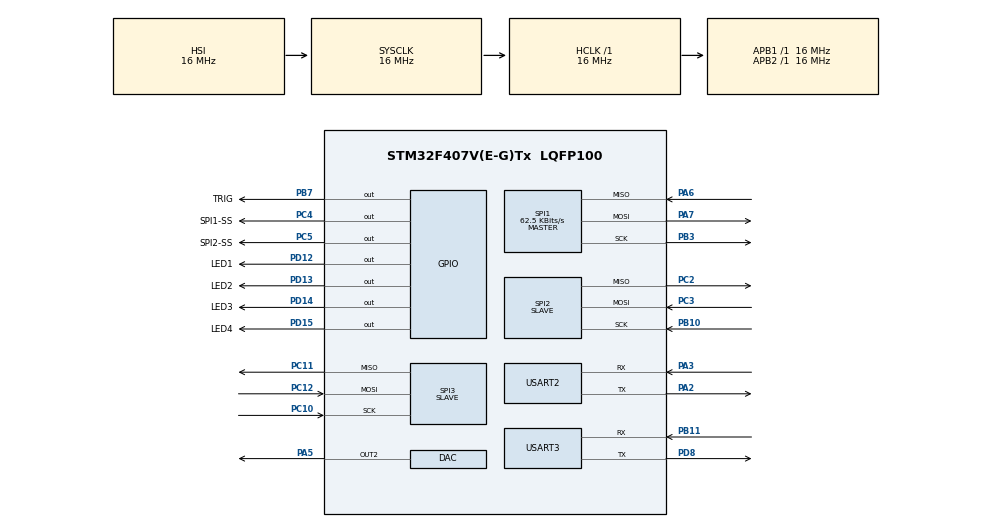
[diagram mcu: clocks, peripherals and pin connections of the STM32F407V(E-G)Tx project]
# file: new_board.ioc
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DAC.DAC_Trigger2=DAC_TRIGGER_T2_TRGO
Dma.DAC2.0.Direction=DMA_MEMORY_TO_PERIPH
Dma.DAC2.0.FIFOMode=DMA_FIFOMODE_DISABLE
Dma.DAC2.0.Instance=DMA1_Stream6
Dma.DAC2.0.MemDataAlignment=DMA_MDATAALIGN_WORD
Dma.DAC2.0.MemInc=DMA_MINC_ENABLE
Dma.DAC2.0.Mode=DMA_CIRCULAR
Dma.DAC2.0.PeriphDataAlignment=DMA_PDATAALIGN_WORD
Dma.DAC2.0.PeriphInc=DMA_PINC_DISABLE
Dma.DAC2.0.Priority=DMA_PRIORITY_LOW
Dma.Request0=DAC2
FREERTOS.Tasks01=defaultTask,0,128,StartDefaultTask,Default,NULL,Dynamic,NULL,NULL;myTask02,-3,128,StartTask02,Default,NULL,Dynamic,NULL,NULL;myTask03,-3,128,StartTask03,Default,NULL,Dynamic,NULL,NULL
Mcu.Family=STM32F4
Mcu.Name=STM32F407V(E-G)Tx
Mcu.Package=LQFP100
NVIC.DMA1_Stream6_IRQn=true\:5\:0\:false\:false\:true\:true\:false
NVIC.PriorityGroup=NVIC_PRIORITYGROUP_4
NVIC.TIM1_UP_TIM10_IRQn=true\:0\:0\:false\:false\:true\:false\:false
NVIC.TIM2_IRQn=true\:5\:0\:false\:false\:true\:true\:true
NVIC.TimeBase=TIM1_UP_TIM10_IRQn
NVIC.TimeBaseIP=TIM1
PA13.Mode=Serial_Wire
PA13.Signal=SYS_JTMS-SWDIO
PA14.Mode=Serial_Wire
PA14.Signal=SYS_JTCK-SWCLK
PA2.Mode=Asynchronous
PA2.Signal=USART2_TX
PA3.Mode=Asynchronous
PA3.Signal=USART2_RX
PA5.Signal=COMP_DAC2_group
PA6.Mode=Full_Duplex_Master
PA6.Signal=SPI1_MISO
PA7.Mode=Full_Duplex_Master
PA7.Signal=SPI1_MOSI
PB10.Mode=Full_Duplex_Slave
PB10.Signal=SPI2_SCK
PB11.Mode=Asynchronous
PB11.Signal=USART3_RX
PB3.Mode=Full_Duplex_Master
PB3.Signal=SPI1_SCK
PB7.GPIO_Label=TRIG
PB7.GPIO_PuPd=GPIO_PULLUP
PB7.Signal=GPIO_Output
PC10.Mode=Full_Duplex_Slave
PC10.Signal=SPI3_SCK
PC11.Mode=Full_Duplex_Slave
PC11.Signal=SPI3_MISO
PC12.Mode=Full_Duplex_Slave
PC12.Signal=SPI3_MOSI
PC2.Mode=Full_Duplex_Slave
PC2.Signal=SPI2_MISO
PC3.Mode=Full_Duplex_Slave
PC3.Signal=SPI2_MOSI
PC4.GPIO_Label=SPI1-SS
PC4.GPIO_PuPd=GPIO_PULLUP
PC4.GPIO_Speed=GPIO_SPEED_FREQ_HIGH
PC4.Signal=GPIO_Output
PC5.GPIO_Label=SPI2-SS
PC5.GPIO_PuPd=GPIO_PULLUP
PC5.GPIO_Speed=GPIO_SPEED_FREQ_HIGH
PC5.Signal=GPIO_Output
PD12.GPIO_Label=LED1
PD12.GPIO_PuPd=GPIO_NOPULL
PD12.Signal=GPIO_Output
PD13.GPIO_Label=LED2
PD13.GPIO_PuPd=GPIO_PULLUP
PD13.Signal=GPIO_Output
PD14.GPIO_Label=LED3
PD14.GPIO_PuPd=GPIO_NOPULL
PD14.Signal=GPIO_Output
PD15.GPIO_Label=LED4
PD15.GPIO_PuPd=GPIO_NOPULL
PD15.Signal=GPIO_Output
PD8.Mode=Asynchronous
PD8.Signal=USART3_TX
ProjectManager.HeapSize=0x200
ProjectManager.StackSize=0x400
ProjectManager.TargetToolchain=TrueSTUDIO
RCC.AHBFreq_Value=16000000
RCC.APB1Freq_Value=16000000
RCC.APB2Freq_Value=16000000
RCC.CortexFreq_Value=16000000
RCC.HSE_VALUE=25000000
RCC.HSI_VALUE=16000000
RCC.LSE_VALUE=32768
RCC.SYSCLKFreq_VALUE=16000000
RCC.VCOOutputFreq_Value=192000000
SH.COMP_DAC2_group.0=DAC_OUT2,DAC_OUT2
SPI1.BaudRatePrescaler=SPI_BAUDRATEPRESCALER_256
SPI1.CLKPhase=SPI_PHASE_2EDGE
SPI1.CLKPolarity=SPI_POLARITY_HIGH
SPI1.CalculateBaudRate=62.5 KBits/s
SPI1.Direction=SPI_DIRECTION_2LINES
SPI1.Mode=SPI_MODE_MASTER
SPI1.VirtualType=VM_MASTER
SPI2.Direction=SPI_DIRECTION_2LINES
SPI2.Mode=SPI_MODE_SLAVE
SPI2.VirtualType=VM_SLAVE
SPI3.Direction=SPI_DIRECTION_2LINES
SPI3.Mode=SPI_MODE_SLAVE
SPI3.VirtualType=VM_SLAVE
TIM2.Period=10-1
TIM2.Prescaler=16-1
TIM2.TIM_MasterOutputTrigger=TIM_TRGO_UPDATE
USART2.VirtualMode=VM_ASYNC
USART3.VirtualMode=VM_ASYNC
VP_FREERTOS_VS_ENABLE.Mode=Enabled
VP_SYS_VS_tim1.Mode=TIM1
VP_TIM2_VS_ClockSourceINT.Mode=Internal
board=custom

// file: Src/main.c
/* USER CODE BEGIN Header */
/**
  ******************************************************************************
  * @file           : main.c
  * @brief          : Main program body
  ******************************************************************************
  * This notice applies to any and all portions of this file
  * that are not between comment pairs USER CODE BEGIN and
  * USER CODE END. Other portions of this file, whether
  * inserted by the user or by software development tools
  * are owned by their respective copyright owners.
  *
  * Copyright (c) 2022 STMicroelectronics International N.V.
  * All rights reserved.
  *
  * Redistribution and use in source and binary forms, with or without
  * modification, are permitted, provided that the following conditions are met:
  *
  * 1. Redistribution of source code must retain the above copyright notice,
  *    this list of conditions and the following disclaimer.
  * 2. Redistributions in binary form must reproduce the above copyright notice,
  *    this list of conditions and the following disclaimer in the documentation
  *    and/or other materials provided with the distribution.
  * 3. Neither the name of STMicroelectronics nor the names of other
  *    contributors to this software may be used to endorse or promote products
  *    derived from this software without specific written permission.
  * 4. This software, including modifications and/or derivative works of this
  *    software, must execute solely and exclusively on microcontroller or
  *    microprocessor devices manufactured by or for STMicroelectronics.
  * 5. Redistribution and use of this software other than as permitted under
  *    this license is void and will automatically terminate your rights under
  *    this license.
  *
  * THIS SOFTWARE IS PROVIDED BY STMICROELECTRONICS AND CONTRIBUTORS "AS IS"
  * AND ANY EXPRESS, IMPLIED OR STATUTORY WARRANTIES, INCLUDING, BUT NOT
  * LIMITED TO, THE IMPLIED WARRANTIES OF MERCHANTABILITY, FITNESS FOR A
  * PARTICULAR PURPOSE AND NON-INFRINGEMENT OF THIRD PARTY INTELLECTUAL PROPERTY
  * RIGHTS ARE DISCLAIMED TO THE FULLEST EXTENT PERMITTED BY LAW. IN NO EVENT
  * SHALL STMICROELECTRONICS OR CONTRIBUTORS BE LIABLE FOR ANY DIRECT, INDIRECT,
  * INCIDENTAL, SPECIAL, EXEMPLARY, OR CONSEQUENTIAL DAMAGES (INCLUDING, BUT NOT
  * LIMITED TO, PROCUREMENT OF SUBSTITUTE GOODS OR SERVICES; LOSS OF USE, DATA,
  * OR PROFITS; OR BUSINESS INTERRUPTION) HOWEVER CAUSED AND ON ANY THEORY OF
  * LIABILITY, WHETHER IN CONTRACT, STRICT LIABILITY, OR TORT (INCLUDING
  * NEGLIGENCE OR OTHERWISE) ARISING IN ANY WAY OUT OF THE USE OF THIS SOFTWARE,
  * EVEN IF ADVISED OF THE POSSIBILITY OF SUCH DAMAGE.
  *
  ******************************************************************************
  */
/* USER CODE END Header */

#include "main.h"
#include "cmsis_os.h"
#include "dac.h"
#include "dma.h"
#include "spi.h"
#include "tim.h"
#include "usart.h"
#include "gpio.h"

void SystemClock_Config(void);
void MX_FREERTOS_Init(void);

int main(void)
{

  /* MCU Configuration--------------------------------------------------------*/

  /* Reset of all peripherals, Initializes the Flash interface and the Systick. */
  HAL_Init();

  /* Configure the system clock */
  SystemClock_Config();

  /* Initialize all configured peripherals */
  MX_GPIO_Init();
  MX_DMA_Init();
  MX_SPI1_Init();
  MX_DAC_Init();
  MX_USART2_UART_Init();
  MX_SPI2_Init();
  MX_USART3_UART_Init();
  MX_SPI3_Init();
  MX_TIM2_Init();

  /* Call init function for freertos objects (in freertos.c) */
  MX_FREERTOS_Init();

  /* Start scheduler */
  osKernelStart();

  /* We should never get here as control is now taken by the scheduler */

  /* Infinite loop */
  while (1)
  {

  }
}

void SystemClock_Config(void)
{
  RCC_OscInitTypeDef RCC_OscInitStruct = {0};
  RCC_ClkInitTypeDef RCC_ClkInitStruct = {0};

  /**Configure the main internal regulator output voltage
  */
  __HAL_RCC_PWR_CLK_ENABLE();
  __HAL_PWR_VOLTAGESCALING_CONFIG(PWR_REGULATOR_VOLTAGE_SCALE1);
  /**Initializes the CPU, AHB and APB busses clocks
  */
  RCC_OscInitStruct.OscillatorType = RCC_OSCILLATORTYPE_HSI;
  RCC_OscInitStruct.HSIState = RCC_HSI_ON;
  RCC_OscInitStruct.HSICalibrationValue = RCC_HSICALIBRATION_DEFAULT;
  RCC_OscInitStruct.PLL.PLLState = RCC_PLL_NONE;
  if (HAL_RCC_OscConfig(&RCC_OscInitStruct) != HAL_OK)
  {
    Error_Handler();
  }
  /**Initializes the CPU, AHB and APB busses clocks
  */
  RCC_ClkInitStruct.ClockType = RCC_CLOCKTYPE_HCLK|RCC_CLOCKTYPE_SYSCLK
                              |RCC_CLOCKTYPE_PCLK1|RCC_CLOCKTYPE_PCLK2;
  RCC_ClkInitStruct.SYSCLKSource = RCC_SYSCLKSOURCE_HSI;
  RCC_ClkInitStruct.AHBCLKDivider = RCC_SYSCLK_DIV1;
  RCC_ClkInitStruct.APB1CLKDivider = RCC_HCLK_DIV1;
  RCC_ClkInitStruct.APB2CLKDivider = RCC_HCLK_DIV1;

  if (HAL_RCC_ClockConfig(&RCC_ClkInitStruct, FLASH_LATENCY_0) != HAL_OK)
  {
    Error_Handler();
  }
}

void HAL_TIM_PeriodElapsedCallback(TIM_HandleTypeDef *htim)
{
  if (htim->Instance == TIM1) {
    HAL_IncTick();
  }
}

void Error_Handler(void)
{
}

/************************ (C) COPYRIGHT STMicroelectronics *****END OF FILE****/

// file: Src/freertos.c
/* USER CODE BEGIN Header */
/**
  ******************************************************************************
  * File Name          : freertos.c
  * Description        : Code for freertos applications
  ******************************************************************************
  * This notice applies to any and all portions of this file
  * that are not between comment pairs USER CODE BEGIN and
  * USER CODE END. Other portions of this file, whether
  * inserted by the user or by software development tools
  * are owned by their respective copyright owners.
  *
  * Copyright (c) 2022 STMicroelectronics International N.V.
  * All rights reserved.
  *
  * Redistribution and use in source and binary forms, with or without
  * modification, are permitted, provided that the following conditions are met:
  *
  * 1. Redistribution of source code must retain the above copyright notice,
  *    this list of conditions and the following disclaimer.
  * 2. Redistributions in binary form must reproduce the above copyright notice,
  *    this list of conditions and the following disclaimer in the documentation
  *    and/or other materials provided with the distribution.
  * 3. Neither the name of STMicroelectronics nor the names of other
  *    contributors to this software may be used to endorse or promote products
  *    derived from this software without specific written permission.
  * 4. This software, including modifications and/or derivative works of this
  *    software, must execute solely and exclusively on microcontroller or
  *    microprocessor devices manufactured by or for STMicroelectronics.
  * 5. Redistribution and use of this software other than as permitted under
  *    this license is void and will automatically terminate your rights under
  *    this license.
  *
  * THIS SOFTWARE IS PROVIDED BY STMICROELECTRONICS AND CONTRIBUTORS "AS IS"
  * AND ANY EXPRESS, IMPLIED OR STATUTORY WARRANTIES, INCLUDING, BUT NOT
  * LIMITED TO, THE IMPLIED WARRANTIES OF MERCHANTABILITY, FITNESS FOR A
  * PARTICULAR PURPOSE AND NON-INFRINGEMENT OF THIRD PARTY INTELLECTUAL PROPERTY
  * RIGHTS ARE DISCLAIMED TO THE FULLEST EXTENT PERMITTED BY LAW. IN NO EVENT
  * SHALL STMICROELECTRONICS OR CONTRIBUTORS BE LIABLE FOR ANY DIRECT, INDIRECT,
  * INCIDENTAL, SPECIAL, EXEMPLARY, OR CONSEQUENTIAL DAMAGES (INCLUDING, BUT NOT
  * LIMITED TO, PROCUREMENT OF SUBSTITUTE GOODS OR SERVICES; LOSS OF USE, DATA,
  * OR PROFITS; OR BUSINESS INTERRUPTION) HOWEVER CAUSED AND ON ANY THEORY OF
  * LIABILITY, WHETHER IN CONTRACT, STRICT LIABILITY, OR TORT (INCLUDING
  * NEGLIGENCE OR OTHERWISE) ARISING IN ANY WAY OUT OF THE USE OF THIS SOFTWARE,
  * EVEN IF ADVISED OF THE POSSIBILITY OF SUCH DAMAGE.
  *
  ******************************************************************************
  */
/* USER CODE END Header */

#include "FreeRTOS.h"
#include "task.h"
#include "main.h"
#include "cmsis_os.h"

/* USER CODE BEGIN Includes */
#include "spi.h"
#include "usart.h"
#include "dac.h"
#include "math.h"
#include "tim.h"
#include "mytypes.h"
#include <string.h>
/* USER CODE END Includes */

/* USER CODE BEGIN PM */

/*
uint32_t sine_val[100];
#define PI 3.1415926
void get_sineval()
{
	for(int i= 0;i < 100;i++)
	{
		sine_val[i] = ((sin(i*2*PI/100) + 1)*(4096/2));
	}
}
*/
/* USER CODE END PM */

/* USER CODE BEGIN Variables */
static 	uint8_t data[DATA_SIZE];
static 	uint8_t rdata[DATA_SIZE];
float value = 0.2;
uint32_t var;

/* USER CODE END Variables */
osThreadId defaultTaskHandle;
osThreadId myTask02Handle;
osThreadId myTask03Handle;

void StartDefaultTask(void const * argument);
void StartTask02(void const * argument);
void StartTask03(void const * argument);

void MX_FREERTOS_Init(void); /* (MISRA C 2004 rule 8.1) */

void MX_FREERTOS_Init(void) {

  /* Create the thread(s) */
  /* definition and creation of defaultTask */
//  osThreadDef(defaultTask, StartDefaultTask, osPriorityNormal, 0, 128);
//  defaultTaskHandle = osThreadCreate(osThread(defaultTask), NULL);

  /* definition and creation of myTask02 */
//  osThreadDef(myTask02, StartTask02, osPriorityIdle, 0, 128);
//  myTask02Handle = osThreadCreate(osThread(myTask02), NULL);

  /* definition and creation of myTask03 */
  osThreadDef(myTask03, StartTask03, osPriorityIdle, 0, 128);
  myTask03Handle = osThreadCreate(osThread(myTask03), NULL);

}

void StartDefaultTask(void const * argument)
{

  /* USER CODE BEGIN StartDefaultTask */
/*
	MOSI	PA7
	SS		PC4
	SCLK	PB3
	TRIG	PB7
*/

//	uint8_t *pData = data;
	uint16_t Size = DATA_SIZE;
//	int ctr = 0;
	int i;
	uint8_t xbyte = 0x21;
//	int menu_ptr = 0;
	uint32_t error = 0;

	HAL_StatusTypeDef ret;

	for(i = 0;i < DATA_SIZE/2;i++)
	{
		data[i] = xbyte;
		if(++xbyte > 0x7f)
			xbyte = 0x1f;
	}
	xbyte = 0x7f;
	for(i = DATA_SIZE/2;i < DATA_SIZE;i++)
	{
		data[i] = xbyte;
		if(--xbyte < 0x1f)
			xbyte = 0x7f;
	}
	/* Infinite loop */

	for(;;)
	{
		ret = HAL_SPI_TransmitReceive(&hspi2, &data[0], &rdata[0], Size, 2000);
		vTaskDelay(1);
		ret = HAL_UART_Transmit(&huart2, &rdata[0], Size, 100);
		vTaskDelay(1);
/*
		xbyte = '\r';
		HAL_UART_Transmit(&huart2, &xbyte, 1, 100);
		xbyte = '\n';
		HAL_UART_Transmit(&huart2, &xbyte, 1, 100);

		vTaskDelay(1);
		if(menu_ptr == 0)
		{
			HAL_GPIO_WritePin(GPIOD, LED1_Pin, GPIO_PIN_RESET);
			HAL_GPIO_WritePin(GPIOD, LED2_Pin, GPIO_PIN_SET);
			menu_ptr = 1;
		}else if(menu_ptr == 1)
		{
			HAL_GPIO_WritePin(GPIOD, LED2_Pin, GPIO_PIN_RESET);
			HAL_GPIO_WritePin(GPIOD, LED3_Pin, GPIO_PIN_SET);
			menu_ptr = 2;
		}else if(menu_ptr == 2)
		{
			HAL_GPIO_WritePin(GPIOD, LED3_Pin, GPIO_PIN_RESET);
			HAL_GPIO_WritePin(GPIOD, LED4_Pin, GPIO_PIN_SET);
			menu_ptr = 3;
		}else if(menu_ptr == 3)
		{
			HAL_GPIO_WritePin(GPIOD, LED4_Pin, GPIO_PIN_RESET);
			HAL_GPIO_WritePin(GPIOD, LED1_Pin, GPIO_PIN_SET);
			menu_ptr = 0;
		}
*/
	}
  /* USER CODE END StartDefaultTask */
}

void StartTask02(void const * argument)
{
  /* USER CODE BEGIN StartTask02 */
  /* Infinite loop */

	HAL_StatusTypeDef ret;
	int i;
	uint8_t *pData;
	uint16_t Size;
	uint8_t xbyte = 0x22;

	int menu_ptr = 0;

	HAL_GPIO_WritePin(GPIOD, LED1_Pin, GPIO_PIN_RESET);
	HAL_GPIO_WritePin(GPIOD, LED2_Pin, GPIO_PIN_SET);

	vTaskDelay(100);

//	HAL_DAC_Start(&hdac, DAC_CHANNEL_2);
/*
	HAL_TIM_Base_Start(&htim2);

	get_sineval();

	HAL_DAC_Start_DMA(&hdac, DAC_CHANNEL_2, sine_val, 100, DAC_ALIGN_12B_R);
*/
	vTaskDelay(100);

	for(i = 0;i < DATA_SIZE;i++)
	{
		data[i] = xbyte;
		if(++xbyte > 0x7f)
			xbyte = 0x1f;
	}

	pData = &data[0];
//	Size = DATA_SIZE;
	vTaskDelay(100);
	for(;;)
	{
		Size = 1;
		ret = HAL_UART_Receive(&huart2, &xbyte, Size, 5000);
		vTaskDelay(2);
		if(ret != HAL_TIMEOUT)
		{
			switch(xbyte)
			{
				case 0xFD:
					xbyte = 0x21;
					for(i = 0;i < DATA_SIZE;i++)
					{
						data[i] = xbyte;
						if(++xbyte > 0x7f)
							xbyte = 0x1f;
					}
				break;
				case 0xFE:
					xbyte = 0x7F;
					for(i = 0;i < DATA_SIZE;i++)
					{
						data[i] = xbyte;
						if(--xbyte < 0x21)
							xbyte = 0x7f;
					}
				break;
				case 0xFC:
					xbyte = 0x30;
					for(i = 0;i < DATA_SIZE/2;i++)
					{
						data[i] = xbyte;
						if(++xbyte > 0x7f)
							xbyte = 0x30;
					}
				break;
				default:
				break;
			}
			Size = DATA_SIZE;
			ret = HAL_UART_Transmit(&huart2, pData, Size, 100);
		}
		vTaskDelay(1);

		if(menu_ptr == 0)
		{
			HAL_GPIO_WritePin(GPIOD, LED1_Pin, GPIO_PIN_RESET);
			HAL_GPIO_WritePin(GPIOD, LED2_Pin, GPIO_PIN_SET);
			menu_ptr = 1;
		}else if(menu_ptr == 1)
		{
			HAL_GPIO_WritePin(GPIOD, LED2_Pin, GPIO_PIN_RESET);
			HAL_GPIO_WritePin(GPIOD, LED3_Pin, GPIO_PIN_SET);
			menu_ptr = 2;
		}else if(menu_ptr == 2)
		{
			HAL_GPIO_WritePin(GPIOD, LED3_Pin, GPIO_PIN_RESET);
			HAL_GPIO_WritePin(GPIOD, LED4_Pin, GPIO_PIN_SET);
			menu_ptr = 3;
		}else if(menu_ptr == 3)
		{
			HAL_GPIO_WritePin(GPIOD, LED4_Pin, GPIO_PIN_RESET);
			HAL_GPIO_WritePin(GPIOD, LED1_Pin, GPIO_PIN_SET);
			menu_ptr = 0;
		}
	}

  /* USER CODE END StartTask02 */
}

void StartTask03(void const * argument)
{
  /* USER CODE BEGIN StartTask03 */
  /* Infinite loop */
	int menu_ptr = 0;
	uint32_t error = 0;
	uint16_t Size = DATA_SIZE;

	HAL_StatusTypeDef ret;

	/* Infinite loop */

	int ret_val = -1;
	static int onoff = 0;

	while(TRUE)
	{
		vTaskDelay(100);

		if(menu_ptr == 0)
		{
			HAL_GPIO_WritePin(GPIOD, LED1_Pin, GPIO_PIN_RESET);
			HAL_GPIO_WritePin(GPIOD, LED2_Pin, GPIO_PIN_SET);
			menu_ptr = 1;
		}else if(menu_ptr == 1)
		{
			HAL_GPIO_WritePin(GPIOD, LED2_Pin, GPIO_PIN_RESET);
			HAL_GPIO_WritePin(GPIOD, LED3_Pin, GPIO_PIN_SET);
			menu_ptr = 2;
		}else if(menu_ptr == 2)
		{
			HAL_GPIO_WritePin(GPIOD, LED3_Pin, GPIO_PIN_RESET);
			HAL_GPIO_WritePin(GPIOD, LED4_Pin, GPIO_PIN_SET);
			menu_ptr = 3;
		}else if(menu_ptr == 3)
		{
			HAL_GPIO_WritePin(GPIOD, LED4_Pin, GPIO_PIN_RESET);
			HAL_GPIO_WritePin(GPIOD, LED1_Pin, GPIO_PIN_SET);
			menu_ptr = 0;
		}
	}	// end of while(TRUE)
  /* USER CODE END StartTask03 */
}

/************************ (C) COPYRIGHT STMicroelectronics *****END OF FILE****/
